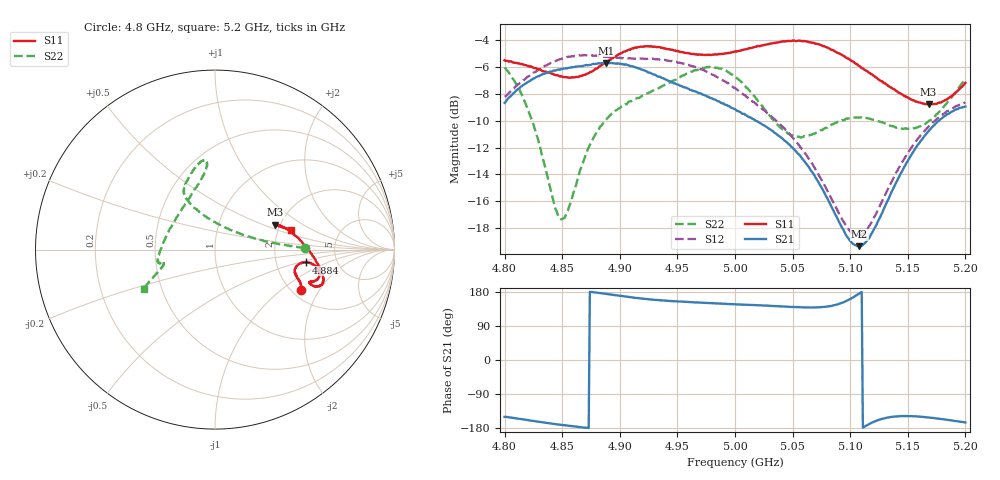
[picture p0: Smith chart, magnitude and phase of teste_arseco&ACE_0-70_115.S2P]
! Network Analyzer HP8722D
! Hewlett-Packard
! Data name: Linha & Wilkinson
! Saver's name: Rodrigo Anjos
! Comments: Teste da utilização de aquisição
! continua pelo VNA HP8722D
! Time and date: 8/5/2025 13:43
!  Frequency  S11  S21  S12  S22
# HZ  S  MA R 50
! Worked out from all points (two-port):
!   401 points, 4.8 GHz to 5.2 GHz, reference 50 ohm
!   highest |S21| = -5.68 dB at 4.888 GHz (marker M1); lowest = -19.3 dB at 5.108 GHz (marker M2)
!   |S21| within 3 dB of the highest: start of sweep to 4.988 GHz
!   lowest |S11| = -8.8 dB at 5.168 GHz (marker M3), VSWR 2.15, Z = 94.3 + j30.4 ohm
!   |S11| at or under -10 dB: nowhere
!   |S22| runs from -17.3 to -6.0 dB; largest |S21 - S12| = 1.1
!   S11 on the Smith chart (normalised r, x): 4.8 GHz: 2.23, -1.41; 4.884 GHz: 2.96, -0.57; 5.2 GHz: 2.35, +0.64
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4.8e9  0.5317 -25.3  0.3688 -150.0  0.3888 9.4  0.4995 0.9
4.811e9  0.5183 -22.5  0.4138 -154.4  0.4305 7.7  0.4266 2.7
4.822e9  0.5032 -20.7  0.4458 -159.4  0.4667 6.1  0.3334 6.2
4.848e9  0.463 -16.4  0.49 -170.9  0.5366 1.9  0.1374 57.4
4.854e9  0.46 -14.8  0.4961 -173.1  0.5468 1.0  0.1434 81.8
4.867e9  0.465 -11.0  0.506 -177.6  0.5542 -0.7  0.2139 110.5
4.884e9  0.5107 -8.0  0.5187 176.2  0.5497 -2.2  0.3035 118.9
4.888e9  0.5241 -7.8  0.5202 174.5  0.5474 -2.0  0.3185 119.0
4.912e9  0.5892 -11.3  0.503 164.5  0.5388 -1.3  0.3784 117.1
4.934e9  0.5956 -16.3  0.4616 157.9  0.5361 -2.4  0.4189 111.1
4.973e9  0.5565 -19.1  0.395 150.8  0.4884 -6.0  0.4986 98.5
5e9  0.5742 -20.0  0.3497 147.0  0.4196 -5.9  0.4625 95.9
5.044e9  0.6267 -18.0  0.265 140.9  0.2923 2.2  0.2881 131.9
5.067e9  0.619 -13.7  0.2037 138.6  0.2191 9.0  0.2817 164.8
5.096e9  0.5453 -3.8  0.1193 154.9  0.1294 35.3  0.3214 -171.6
5.108e9  0.5063 2.1  0.1078 175.7  0.1185 58.9  0.3254 -168.2
5.118e9  0.4728 6.8  0.119 -166.5  0.1311 77.6  0.3209 -166.5
5.134e9  0.424 14.6  0.1646 -151.1  0.1803 94.5  0.3043 -165.8
5.153e9  0.3797 20.8  0.2358 -148.2  0.2506 100.6  0.2951 -164.3
5.168e9  0.3644 22.6  0.2898 -151.6  0.3011 101.4  0.315 -161.2
5.183e9  0.3786 20.2  0.3311 -157.3  0.3409 101.4  0.3645 -156.9
5.2e9  0.438 14.5  0.3576 -164.8  0.3709 101.8  0.4543 -151.0
